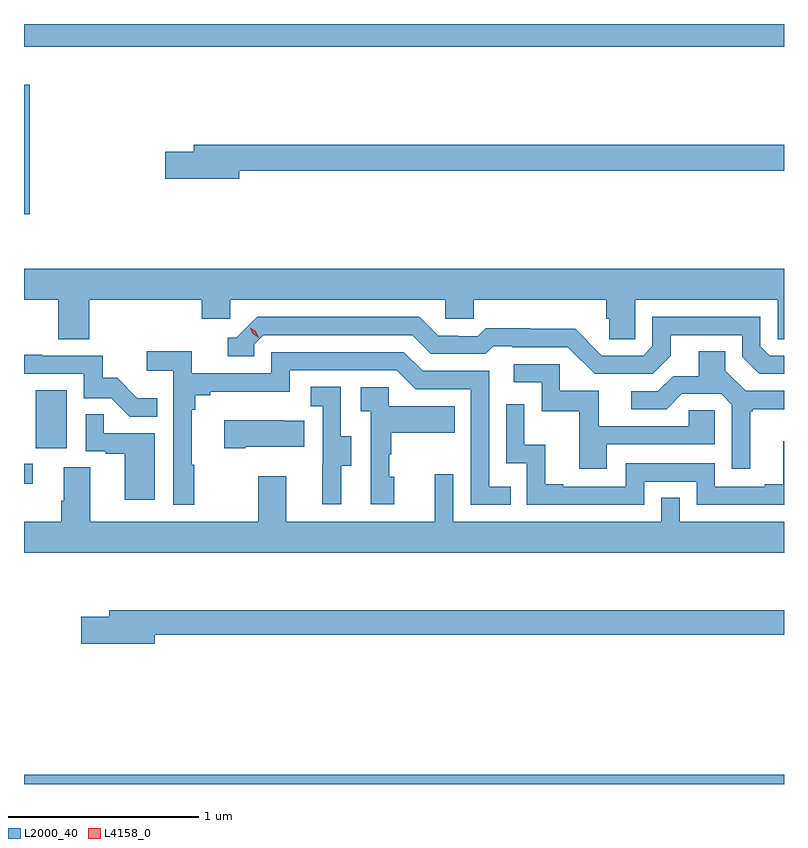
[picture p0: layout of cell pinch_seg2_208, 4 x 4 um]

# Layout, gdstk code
import gdstk
lib = gdstk.Library(unit=1e-6, precision=1e-09)
def R(c, l, rs):  # rectangles x0, y0, x1, y1
    for r in rs: c.add(gdstk.rectangle(r[:2], r[2:], *l))
def P(c, l, *ps):  # polygons
    for p in ps: c.add(gdstk.Polygon(p, *l))
L2000_40 = (2000, 40)
L4158_0 = (4158, 0)

pinch_seg2_208 = lib.new_cell('pinch_seg2_208')
R(pinch_seg2_208, L2000_40, [(972.006,647.752,976.006,647.8), (972.006,649.332,972.052,649.437), (972.068,649.518,972.232,649.825), (972.006,650.752,972.035,651.433), (972.006,651.632,976.006,651.752)])
P(pinch_seg2_208, L2000_40, [(973.138,650.98),(976.006,650.98),(976.006,651.116),(972.899,651.116),(972.899,651.08),(972.75,651.08),(972.75,650.938),(973.138,650.938)],
  [(972.35,650.3),(972.941,650.3),(972.941,650.202),(973.092,650.202),(973.092,650.3),(974.223,650.3),(974.223,650.202),(974.373,650.202),(974.373,650.3),(975.071,650.3),(975.071,650.202),(975.085,650.202),(975.085,650.092),(975.222,650.092),(975.222,650.3),(975.972,650.3),(975.972,650.092),(976.006,650.092),(976.006,650.464),(972.006,650.464),(972.006,650.3),(972.185,650.3),(972.185,650.092),(972.35,650.092)],
  [(975.409,650.005),(975.409,650.115),(975.786,650.115),(975.786,650.001),(975.876,649.911),(976.006,649.911),(976.006,650.007),(975.93,650.007),(975.882,650.055),(975.882,650.211),(975.312,650.211),(975.312,650.055),(975.264,650.007),(975.048,650.007),(974.906,650.149),(974.67,650.149),(974.67,650.152),(974.437,650.152),(974.395,650.109),(974.292,650.109),(974.292,650.112),(974.185,650.112),(974.086,650.211),(973.233,650.211),(973.122,650.1),(973.079,650.1),(973.079,650.004),(973.218,650.004),(973.218,650.067),(973.266,650.115),(974.049,650.115),(974.148,650.016),(974.437,650.016),(974.476,650.055),(974.575,650.055),(974.575,650.052),(974.868,650.052),(975.009,649.911),(975.315,649.911)],
  [(972.901,649.433),(972.889,649.433),(972.889,649.721),(972.908,649.721),(972.908,649.798),(972.985,649.798),(972.985,649.817),(973.404,649.817),(973.404,649.929),(973.968,649.929),(974.067,649.83),(974.358,649.83),(974.358,649.221),(974.567,649.221),(974.567,649.317),(974.454,649.317),(974.454,649.926),(974.104,649.926),(974.005,650.025),(973.308,650.025),(973.308,649.914),(972.89,649.914),(972.89,650.03),(972.651,650.03),(972.651,649.928),(972.792,649.928),(972.792,649.221),(972.901,649.221)],
  [(975.829,649.713),(975.841,649.713),(975.841,649.724),(976.006,649.724),(976.006,649.821),(975.804,649.821),(975.697,649.928),(975.697,650.03),(975.557,650.03),(975.557,649.898),(975.422,649.898),(975.342,649.818),(975.201,649.818),(975.201,649.725),(975.388,649.725),(975.469,649.806),(975.675,649.806),(975.732,649.749),(975.732,649.41),(975.829,649.41)],
  [(972.707,649.783),(972.603,649.783),(972.496,649.89),(972.42,649.89),(972.42,650.007),(972.101,650.007),(972.101,650.012),(972.006,650.012),(972.006,649.911),(972.321,649.911),(972.321,649.782),(972.465,649.782),(972.563,649.684),(972.707,649.684)],
  [(975.073,649.539),(975.642,649.539),(975.642,649.719),(975.505,649.719),(975.505,649.635),(975.031,649.635),(975.031,649.821),(974.826,649.821),(974.826,649.962),(974.583,649.962),(974.583,649.866),(974.73,649.866),(974.73,649.713),(974.929,649.713),(974.929,649.41),(975.073,649.41)],
  [(973.675,649.426),(973.729,649.426),(973.729,649.581),(973.674,649.581),(973.674,649.844),(973.515,649.844),(973.515,649.741),(973.578,649.741),(973.578,649.437),(973.577,649.437),(973.577,649.224),(973.675,649.224)],
  [(973.954,649.368),(973.929,649.368),(973.929,649.487),(973.939,649.487),(973.939,649.601),(974.273,649.601),(974.273,649.741),(973.926,649.741),(973.926,649.839),(973.779,649.839),(973.779,649.715),(973.83,649.715),(973.83,649.224),(973.954,649.224)],
  [(975.27,649.344),(975.546,649.344),(975.546,649.221),(976.006,649.221),(976.006,649.555),(976.001,649.555),(976.001,649.33),(975.905,649.33),(975.905,649.317),(975.642,649.317),(975.642,649.44),(975.174,649.44),(975.174,649.317),(974.845,649.317),(974.845,649.33),(974.75,649.33),(974.75,649.538),(974.64,649.538),(974.64,649.75),(974.544,649.75),(974.544,649.44),(974.652,649.44),(974.652,649.221),(975.27,649.221)],
  [(972.694,649.599),(972.425,649.599),(972.425,649.697),(972.33,649.697),(972.33,649.503),(972.437,649.503),(972.437,649.491),(972.536,649.491),(972.536,649.248),(972.694,649.248)],
  [(973.171,649.526),(973.481,649.526),(973.481,649.663),(973.373,649.663),(973.373,649.666),(973.059,649.666),(973.059,649.519),(973.171,649.519)],
  [(976.006,649.132),(975.456,649.132),(975.456,649.259),(975.36,649.259),(975.36,649.132),(974.265,649.132),(974.265,649.381),(974.168,649.381),(974.168,649.132),(973.387,649.132),(973.387,649.372),(973.24,649.372),(973.24,649.132),(972.355,649.132),(972.355,649.418),(972.215,649.418),(972.215,649.244),(972.203,649.244),(972.203,649.132),(972.006,649.132),(972.006,648.968),(976.006,648.968)],
  [(972.694,648.538),(976.006,648.538),(976.006,648.667),(972.455,648.667),(972.455,648.633),(972.306,648.633),(972.306,648.491),(972.694,648.491)])
P(pinch_seg2_208, L4158_0, [(973.241,650.1),(973.211,650.121),(973.196,650.154),(973.196,650.154),(973.196,650.154),(973.226,650.134),(973.242,650.1),(973.242,650.1)])

lib.write_gds('pinch_seg2_208.gds')
